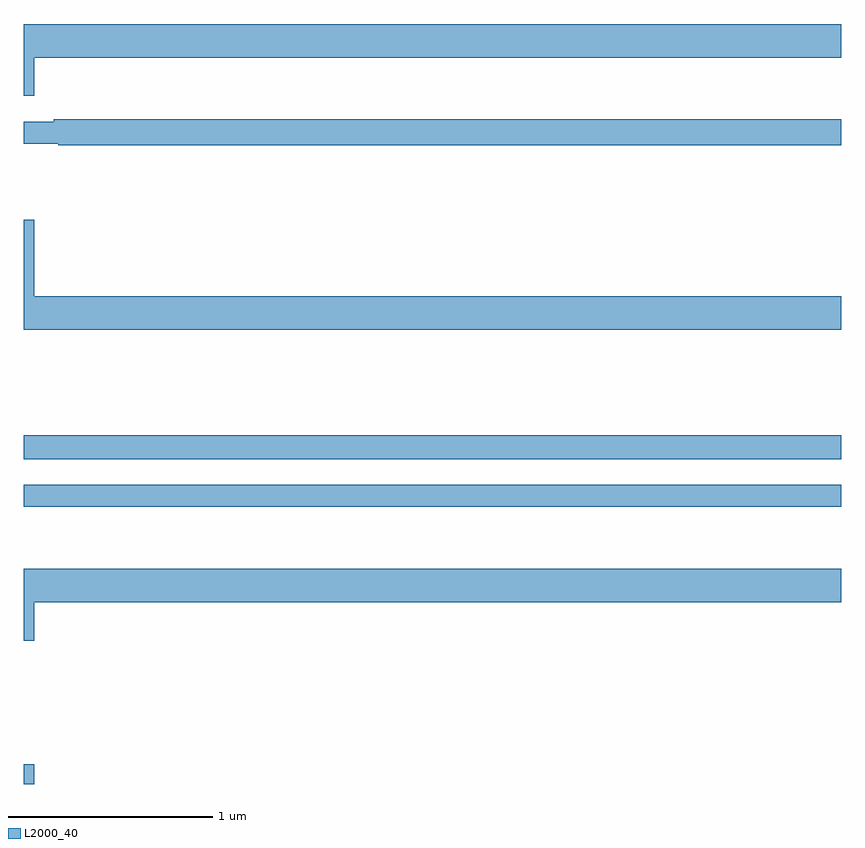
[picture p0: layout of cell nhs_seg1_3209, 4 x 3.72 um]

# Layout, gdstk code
import gdstk
lib = gdstk.Library(unit=1e-6, precision=1e-09)
def R(c, l, rs):  # rectangles x0, y0, x1, y1
    for r in rs: c.add(gdstk.rectangle(r[:2], r[2:], *l))
def P(c, l, *ps):  # polygons
    for p in ps: c.add(gdstk.Polygon(p, *l))
L2000_40 = (2000, 40)

nhs_seg1_3209 = lib.new_cell('nhs_seg1_3209')
R(nhs_seg1_3209, L2000_40, [(285,528.199,285.052,528.295), (285,529.554,289,529.662), (285,529.788,289,529.904)])
P(nhs_seg1_3209, L2000_40, [(285.052,531.752),(289,531.752),(289,531.916),(285,531.916),(285,531.564),(285.052,531.564)],
  [(289,531.451),(285.148,531.451),(285.148,531.438),(285,531.438),(285,531.33),(285.17,531.33),(285.17,531.322),(289,531.322)],
  [(289,530.584),(285.052,530.584),(285.052,530.959),(285,530.959),(285,530.42),(289,530.42)],
  [(285.052,529.088),(289,529.088),(289,529.252),(285,529.252),(285,528.9),(285.052,528.9)])

lib.write_gds('nhs_seg1_3209.gds')
